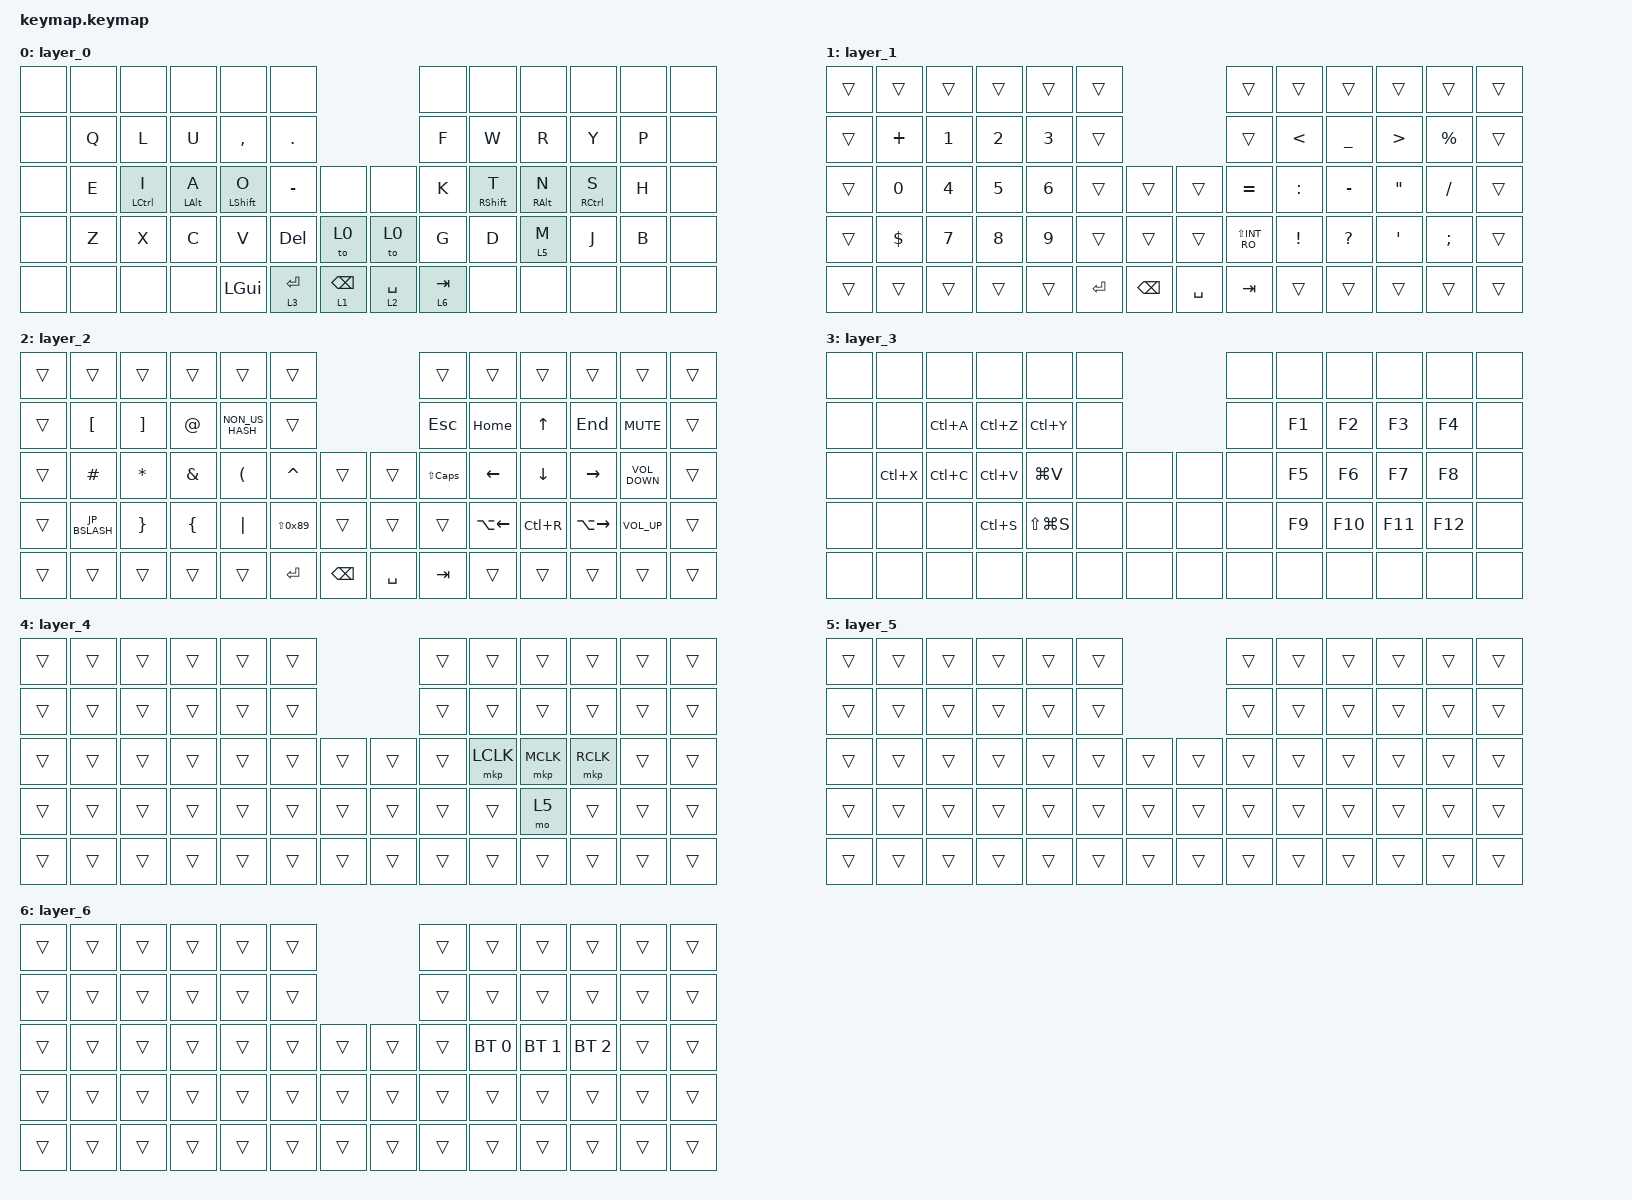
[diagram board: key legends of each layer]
#include <behaviors.dtsi>
#include <dt-bindings/zmk/bt.h>
#include <dt-bindings/zmk/keys.h>
#include <dt-bindings/zmk/pointing.h>

&mt { flavor = "balanced"; };

// JIS配列用HIDキーコード直接指定

#define JP_BSLASH 0x89          // \ (JIS ¥/バックスラッシュキー)
#define JP_PIPE   LS(0x89)      // | (JIS Shift+¥キー)

/ {
    combos {
        compatible = "zmk,combos";

        hira {
            bindings = <&kp LANG1>;
            key-positions = <20 21>;
        };

        ei {
            bindings = <&kp LANG2>;
            key-positions = <15 14>;
        };
    };

    behaviors {
        holdtap_behavior: holdtap_behavior {
            compatible = "zmk,behavior-hold-tap";
            label = "HOLDTAP_BEHAVIOR";
            bindings = <&mt>, <&mt>;

            #binding-cells = <2>;
            tapping-term-ms = <700>;
            flavor = "balanced";
        };
    };

    macros {
        jis_tilde: jis_tilde {
            compatible = "zmk,behavior-macro";
            #binding-cells = <0>;
            bindings =
                <&macro_press>,
                <&kp RIGHT_SHIFT>,
                <&macro_tap>,
                <&kp EQUAL>,
                <&macro_release>,
                <&kp RIGHT_SHIFT>;
        };
    };

    keymap {
        compatible = "zmk,keymap";

        layer_0 {
            bindings = <
&none  &none  &none               &none           &none             &none                                      &none      &none              &none            &none                &none  &none
&none  &kp Q  &kp L               &kp U           &kp COMMA         &kp PERIOD                                 &kp F      &kp W              &kp R            &kp Y                &kp P  &none
&none  &kp E  &mt LEFT_CONTROL I  &mt LEFT_ALT A  &mt LEFT_SHIFT O  &kp MINUS    &none            &none        &kp K      &mt RIGHT_SHIFT T  &mt RIGHT_ALT N  &mt RIGHT_CONTROL S  &kp H  &none
&none  &kp Z  &kp X               &kp C           &kp V             &kp DELETE   &to 0            &to 0        &kp G      &kp D              &lt 5 M          &kp J                &kp B  &none
&none  &none  &none               &none           &kp LEFT_GUI      &lt 3 ENTER  &lt 1 BACKSPACE  &lt 2 SPACE  &lt 6 TAB  &none              &none            &none                &none  &none
            >;
        };

        layer_1 {
            bindings = <
&trans  &trans        &trans        &trans        &trans        &trans                               &trans          &trans           &trans        &trans             &trans         &trans
&trans  &kp PLUS      &kp NUMBER_1  &kp NUMBER_2  &kp NUMBER_3  &trans                               &trans          &kp LESS_THAN    &kp UNDER     &kp GREATER_THAN   &kp PERCENT    &trans
&trans  &kp NUMBER_0  &kp NUMBER_4  &kp NUMBER_5  &kp NUMBER_6  &trans     &trans         &trans     &kp EQUAL       &kp COLON        &kp MINUS     &kp DOUBLE_QUOTES  &kp SLASH      &trans
&trans  &kp DOLLAR    &kp NUMBER_7  &kp NUMBER_8  &kp NUMBER_9  &trans     &trans         &trans     &kp LS(INT_RO)  &kp EXCLAMATION  &kp QUESTION  &kp SINGLE_QUOTE   &kp SEMICOLON  &trans
&trans  &trans        &trans        &trans        &trans        &kp ENTER  &kp BACKSPACE  &kp SPACE  &kp TAB         &trans           &trans        &trans             &trans         &trans
            >;
        };

        layer_2 {
            bindings = <
&trans  &trans            &trans             &trans          &trans                &trans                                 &trans            &trans          &trans          &trans           &trans             &trans
&trans  &kp LEFT_BRACKET  &kp RIGHT_BRACKET  &kp AT_SIGN     &kp NON_US_HASH       &trans                                 &kp ESCAPE        &kp HOME        &kp UP_ARROW    &kp END          &kp K_MUTE         &trans
&trans  &kp HASH          &kp ASTERISK       &kp AMPERSAND   &kp LEFT_PARENTHESIS  &kp CARET    &trans         &trans     &kp LS(CAPSLOCK)  &kp LEFT_ARROW  &kp DOWN_ARROW  &kp RIGHT_ARROW  &kp C_VOLUME_DOWN  &trans
&trans  &kp JP_BSLASH     &kp RIGHT_BRACE    &kp LEFT_BRACE  &kp PIPE              &kp JP_PIPE  &trans         &trans     &trans            &kp LA(LEFT)    &kp LC(R)       &kp LA(RIGHT)    &kp C_VOLUME_UP    &trans
&trans  &trans            &trans             &trans          &trans                &kp ENTER    &kp BACKSPACE  &kp SPACE  &kp TAB           &trans          &trans          &trans           &trans             &trans
            >;
        };

        layer_3 {
            bindings = <
&none  &none      &none      &none      &none          &none                &none  &none   &none    &none    &none    &none
&none  &none      &kp LC(A)  &kp LC(Z)  &kp LC(Y)      &none                &none  &kp F1  &kp F2   &kp F3   &kp F4   &none
&none  &kp LC(X)  &kp LC(C)  &kp LC(V)  &kp LG(V)      &none  &none  &none  &none  &kp F5  &kp F6   &kp F7   &kp F8   &none
&none  &none      &none      &kp LC(S)  &kp LS(LG(S))  &none  &none  &none  &none  &kp F9  &kp F10  &kp F11  &kp F12  &none
&none  &none      &none      &none      &none          &none  &none  &none  &none  &none   &none    &none    &none    &none
            >;
        };

        layer_4 {
            bindings = <
&trans  &trans  &trans  &trans  &trans  &trans                  &trans  &trans     &trans     &trans     &trans  &trans
&trans  &trans  &trans  &trans  &trans  &trans                  &trans  &trans     &trans     &trans     &trans  &trans
&trans  &trans  &trans  &trans  &trans  &trans  &trans  &trans  &trans  &mkp LCLK  &mkp MCLK  &mkp RCLK  &trans  &trans
&trans  &trans  &trans  &trans  &trans  &trans  &trans  &trans  &trans  &trans     &mo 5      &trans     &trans  &trans
&trans  &trans  &trans  &trans  &trans  &trans  &trans  &trans  &trans  &trans     &trans     &trans     &trans  &trans
            >;
        };

        layer_5 {
            bindings = <
&trans  &trans  &trans  &trans  &trans  &trans                  &trans  &trans  &trans  &trans  &trans  &trans
&trans  &trans  &trans  &trans  &trans  &trans                  &trans  &trans  &trans  &trans  &trans  &trans
&trans  &trans  &trans  &trans  &trans  &trans  &trans  &trans  &trans  &trans  &trans  &trans  &trans  &trans
&trans  &trans  &trans  &trans  &trans  &trans  &trans  &trans  &trans  &trans  &trans  &trans  &trans  &trans
&trans  &trans  &trans  &trans  &trans  &trans  &trans  &trans  &trans  &trans  &trans  &trans  &trans  &trans
            >;
        };

        layer_6 {
            bindings = <
&trans  &trans  &trans  &trans  &trans  &trans                  &trans  &trans        &trans        &trans        &trans  &trans
&trans  &trans  &trans  &trans  &trans  &trans                  &trans  &trans        &trans        &trans        &trans  &trans
&trans  &trans  &trans  &trans  &trans  &trans  &trans  &trans  &trans  &bt BT_SEL 0  &bt BT_SEL 1  &bt BT_SEL 2  &trans  &trans
&trans  &trans  &trans  &trans  &trans  &trans  &trans  &trans  &trans  &trans        &trans        &trans        &trans  &trans
&trans  &trans  &trans  &trans  &trans  &trans  &trans  &trans  &trans  &trans        &trans        &trans        &trans  &trans
            >;
        };
    };
};
